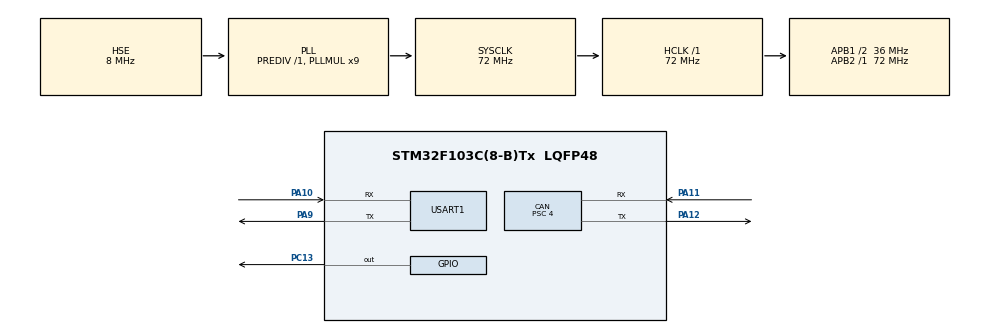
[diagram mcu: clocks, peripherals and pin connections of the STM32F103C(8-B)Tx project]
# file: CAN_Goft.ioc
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CAN.BS1=CAN_BS1_15TQ
CAN.BS2=CAN_BS2_2TQ
CAN.CalculateBaudRate=500000
CAN.CalculateTimeBit=2000
CAN.CalculateTimeQuantum=111.11111111111111
CAN.Prescaler=4
CAN.SJW=CAN_SJW_1TQ
Mcu.Family=STM32F1
Mcu.Name=STM32F103C(8-B)Tx
Mcu.Package=LQFP48
NVIC.CAN1_RX1_IRQn=true\:0\:0\:false\:false\:true\:true\:true\:true
NVIC.CAN1_SCE_IRQn=true\:0\:0\:false\:false\:true\:true\:true\:true
NVIC.PriorityGroup=NVIC_PRIORITYGROUP_4
NVIC.USB_HP_CAN1_TX_IRQn=true\:0\:0\:false\:false\:true\:true\:true\:true
NVIC.USB_LP_CAN1_RX0_IRQn=true\:0\:0\:false\:false\:true\:true\:true\:true
PA10.Mode=Asynchronous
PA10.Signal=USART1_RX
PA11.Mode=CAN_Activate
PA11.Signal=CAN_RX
PA12.Mode=CAN_Activate
PA12.Signal=CAN_TX
PA13.Mode=Serial_Wire
PA13.Signal=SYS_JTMS-SWDIO
PA14.Mode=Serial_Wire
PA14.Signal=SYS_JTCK-SWCLK
PA9.Mode=Asynchronous
PA9.Signal=USART1_TX
PC13-TAMPER-RTC.Signal=GPIO_Output
PD0-OSC_IN.Mode=HSE-External-Oscillator
PD0-OSC_IN.Signal=RCC_OSC_IN
PD1-OSC_OUT.Mode=HSE-External-Oscillator
PD1-OSC_OUT.Signal=RCC_OSC_OUT
ProjectManager.HeapSize=0x200
ProjectManager.StackSize=0x400
ProjectManager.TargetToolchain=STM32CubeIDE
RCC.AHBFreq_Value=72000000
RCC.APB1CLKDivider=RCC_HCLK_DIV2
RCC.APB1Freq_Value=36000000
RCC.APB1TimFreq_Value=72000000
RCC.APB2Freq_Value=72000000
RCC.APB2TimFreq_Value=72000000
RCC.HCLKFreq_Value=72000000
RCC.PLLMUL=RCC_PLL_MUL9
RCC.PLLSourceVirtual=RCC_PLLSOURCE_HSE
RCC.SYSCLKFreq_VALUE=72000000
RCC.SYSCLKSource=RCC_SYSCLKSOURCE_PLLCLK
RCC.USBFreq_Value=72000000
USART1.VirtualMode=VM_ASYNC
board=custom

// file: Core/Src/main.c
/* USER CODE BEGIN Header */
/**
  ******************************************************************************
  * @file           : main.c
  * @brief          : Main program body
  ******************************************************************************
  * @attention
  *
  * Copyright (c) 2023 STMicroelectronics.
  * All rights reserved.
  *
  * This software is licensed under terms that can be found in the LICENSE file
  * in the root directory of this software component.
  * If no LICENSE file comes with this software, it is provided AS-IS.
  *
  ******************************************************************************
  */
/* USER CODE END Header */
#include "main.h"

/* USER CODE BEGIN Includes */
#include "CAN_Flag.h"
#include "CAN_OSI.h"
#include <stdio.h>
/* USER CODE END Includes */

CAN_HandleTypeDef hcan;

UART_HandleTypeDef huart1;

void SystemClock_Config(void);
static void MX_GPIO_Init(void);
static void MX_CAN_Init(void);
static void MX_USART1_UART_Init(void);

int main(void)
{

  /* MCU Configuration--------------------------------------------------------*/

  /* Reset of all peripherals, Initializes the Flash interface and the Systick. */
  HAL_Init();

  /* Configure the system clock */
  SystemClock_Config();

  /* Initialize all configured peripherals */
  MX_GPIO_Init();
  MX_CAN_Init();
  MX_USART1_UART_Init();
  /* USER CODE BEGIN 2 */
  CAN_Config_filtering(CAN_FILTER_FIFO0);
  //CAN_Config_filtering(CAN_FILTER_FIFO1);
// if(HAL_CAN_ActivateNotification(&hcan,CAN_IT_TX_MAILBOX_EMPTY|CAN_IT_RX_FIFO0_MSG_PENDING|CAN_IT_BUSOFF)!=HAL_OK)
// {
//	 Error_Handler();
// }
  if(HAL_CAN_Start(&hcan)!=HAL_OK)
     {
     	Error_Handler();
     }
  CANBufferHandleStruct Buffer;
  CANBufferHandleStruct_Init(&Buffer);
  FlagRecNotification FlagRec;
  FlagFrameHandle Flag;
  FlagsFrameHandle_Init(&Flag);
  uint8_t mess[100]={0};
  	char Print[88] = {0};
  /* USER CODE END 2 */

  /* Infinite loop */
  /* USER CODE BEGIN WHILE */
  //CAN_Physical_Send(&Buffer, Data , 10 , &pIDtype, Txmailbox);
  //CAN_Send_Physical_Send(&Buffer, Data , DATA_TEST , &pIDtype, Txmailbox);
  //CAN_Send_Application(&Buffer, &pIDtype, Data,DATA_TEST);
  while (1)
  {
    /* USER CODE END WHILE */

    /* USER CODE BEGIN 3 */
	  //CAN_Send_Dataframe(pIDtype, Data, Txmailbox, TxBufferSend)
	  //CAN_Send_DataLink_Separate(&Buffer, Data);
	 // CAN_DataLink_Separate(&Buffer,Data,9);
	 // len = sprintf((char*)sendData, "From OBSTALCE8 to 2: %d\r\n",cnt++);
	 // CAN_Send_Application(&Buffer, &pIDtype, sendData,len+1);
	  //CAN_Send_Error_Handle(&Buffer, &pIDtype);
	//	CAN_Network_Packet(&Buffer,Data,62);
	//  HAL_GPIO_TogglePin(GPIOC, GPIO_PIN_13);
	 //CAN_Send_Physical_Send(&Buffer, Data , DATA_TEST , &pIDtype);
	 CAN_Receive_Application(&Buffer, mess, &Flag, &FlagRec);
//	// HAL_UART_Transmit(&huart1,mess,DATA_TEST,HAL_MAX_DELAY);
	 if(FlagRec==REC_SUCCESS)
	 {
		 uint8_t len = sprintf(Print, "Node 2 Rcv: %d\r\n",mess);
		 HAL_UART_Transmit(&huart1,Print,len,HAL_MAX_DELAY);
	 }
	//  HAL_Delay(300);
  /* USER CODE END 3 */
}
}
void SystemClock_Config(void)
{
  RCC_OscInitTypeDef RCC_OscInitStruct = {0};
  RCC_ClkInitTypeDef RCC_ClkInitStruct = {0};

  /** Initializes the RCC Oscillators according to the specified parameters
  * in the RCC_OscInitTypeDef structure.
  */
  RCC_OscInitStruct.OscillatorType = RCC_OSCILLATORTYPE_HSE;
  RCC_OscInitStruct.HSEState = RCC_HSE_ON;
  RCC_OscInitStruct.HSEPredivValue = RCC_HSE_PREDIV_DIV1;
  RCC_OscInitStruct.HSIState = RCC_HSI_ON;
  RCC_OscInitStruct.PLL.PLLState = RCC_PLL_ON;
  RCC_OscInitStruct.PLL.PLLSource = RCC_PLLSOURCE_HSE;
  RCC_OscInitStruct.PLL.PLLMUL = RCC_PLL_MUL9;
  if (HAL_RCC_OscConfig(&RCC_OscInitStruct) != HAL_OK)
  {
    Error_Handler();
  }

  /** Initializes the CPU, AHB and APB buses clocks
  */
  RCC_ClkInitStruct.ClockType = RCC_CLOCKTYPE_HCLK|RCC_CLOCKTYPE_SYSCLK
                              |RCC_CLOCKTYPE_PCLK1|RCC_CLOCKTYPE_PCLK2;
  RCC_ClkInitStruct.SYSCLKSource = RCC_SYSCLKSOURCE_PLLCLK;
  RCC_ClkInitStruct.AHBCLKDivider = RCC_SYSCLK_DIV1;
  RCC_ClkInitStruct.APB1CLKDivider = RCC_HCLK_DIV2;
  RCC_ClkInitStruct.APB2CLKDivider = RCC_HCLK_DIV1;

  if (HAL_RCC_ClockConfig(&RCC_ClkInitStruct, FLASH_LATENCY_2) != HAL_OK)
  {
    Error_Handler();
  }
}

static void MX_CAN_Init(void)
{

  hcan.Instance = CAN1;
  hcan.Init.Prescaler = 4;
  hcan.Init.Mode = CAN_MODE_NORMAL;
  hcan.Init.SyncJumpWidth = CAN_SJW_1TQ;
  hcan.Init.TimeSeg1 = CAN_BS1_15TQ;
  hcan.Init.TimeSeg2 = CAN_BS2_2TQ;
  hcan.Init.TimeTriggeredMode = DISABLE;
  hcan.Init.AutoBusOff = DISABLE;
  hcan.Init.AutoWakeUp = DISABLE;
  hcan.Init.AutoRetransmission = DISABLE;
  hcan.Init.ReceiveFifoLocked = DISABLE;
  hcan.Init.TransmitFifoPriority = DISABLE;
  if (HAL_CAN_Init(&hcan) != HAL_OK)
  {
    Error_Handler();
  }

}

static void MX_USART1_UART_Init(void)
{

  huart1.Instance = USART1;
  huart1.Init.BaudRate = 115200;
  huart1.Init.WordLength = UART_WORDLENGTH_8B;
  huart1.Init.StopBits = UART_STOPBITS_1;
  huart1.Init.Parity = UART_PARITY_NONE;
  huart1.Init.Mode = UART_MODE_TX_RX;
  huart1.Init.HwFlowCtl = UART_HWCONTROL_NONE;
  huart1.Init.OverSampling = UART_OVERSAMPLING_16;
  if (HAL_UART_Init(&huart1) != HAL_OK)
  {
    Error_Handler();
  }

}

static void MX_GPIO_Init(void)
{
  GPIO_InitTypeDef GPIO_InitStruct = {0};

  /* GPIO Ports Clock Enable */
  __HAL_RCC_GPIOC_CLK_ENABLE();
  __HAL_RCC_GPIOD_CLK_ENABLE();
  __HAL_RCC_GPIOA_CLK_ENABLE();

  /*Configure GPIO pin Output Level */
  HAL_GPIO_WritePin(GPIOC, GPIO_PIN_13, GPIO_PIN_RESET);

  /*Configure GPIO pin : PC13 */
  GPIO_InitStruct.Pin = GPIO_PIN_13;
  GPIO_InitStruct.Mode = GPIO_MODE_OUTPUT_PP;
  GPIO_InitStruct.Pull = GPIO_NOPULL;
  GPIO_InitStruct.Speed = GPIO_SPEED_FREQ_LOW;
  HAL_GPIO_Init(GPIOC, &GPIO_InitStruct);

}

void Error_Handler(void)
{
  __disable_irq();
  while (1)
  {
  }
}
